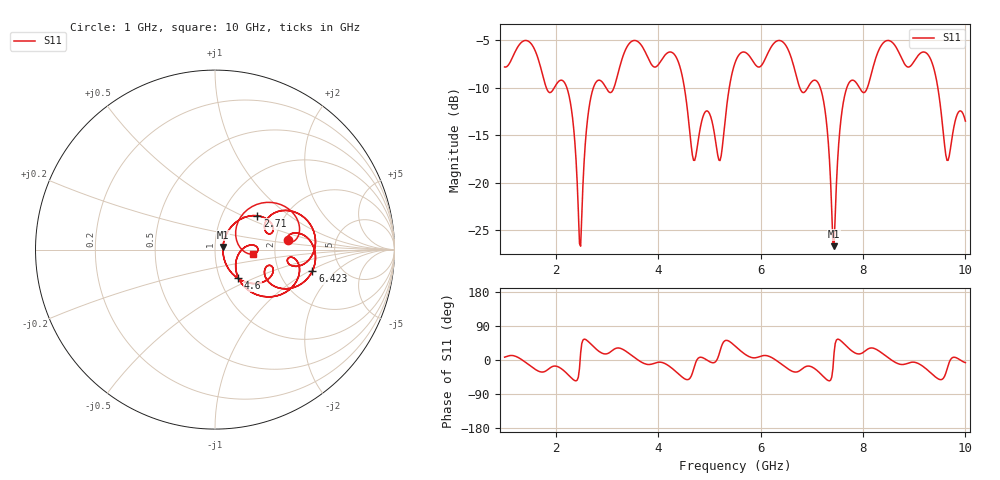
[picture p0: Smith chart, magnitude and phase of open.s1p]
!Created with skrf (http://scikit-rf.org).
# GHz S RI R 50.0
!freq ReS11 ImS11
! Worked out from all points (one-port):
!   401 points, 1 GHz to 10 GHz, reference 50 ohm
!   lowest |S11| = -26.7 dB at 7.435 GHz (marker M1), VSWR 1.10, Z = 54.6 + j1.59 ohm
!   |S11| at or under -10 dB: 2.217 GHz to 2.733 GHz (515.8 MHz wide, 20.8 % of centre); 4.512 GHz to 5.388 GHz (875.7 MHz wide, 17.7 % of centre); 9.462 GHz to end of sweep (the widest 3 of 8)
!   S11 on the Smith chart (normalised r, x): 1 GHz: 2.33, +0.30; 2.71 GHz: 1.47, +0.61; 4.6 GHz: 1.23, -0.41; 6.423 GHz: 3.09, -1.07; 10 GHz: 1.53, -0.08
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1  0.4042 0.0533
1.405  0.5595 -0.0563
1.81  0.2807 -0.1528
2.125  0.315 -0.1445
2.305  0.1654 -0.18
2.485  0.044 0.0145
2.5975  0.1141 0.1508
2.71  0.2354 0.1887
3.25  0.35 0.2122
3.565  0.5598 0.0372
4.375  0.369 -0.2498
4.6  0.1301 -0.1587
4.7125  0.1271 -0.033
4.9825  0.2361 -0.0113
5.2075  0.1199 0.0525
5.5  0.3415 0.2585
6.4225  0.5422 -0.1204
6.625  0.3738 -0.2174
7.1875  0.2378 -0.1884
7.435  0.044 0.0145
7.57  0.1378 0.1671
7.75  0.3044 0.1576
8.11  0.2876 0.1662
8.4925  0.5593 0.0587
8.875  0.4027 -0.0613
9.325  0.369 -0.2498
9.64  0.1193 -0.0551
10  0.2099 -0.0255
